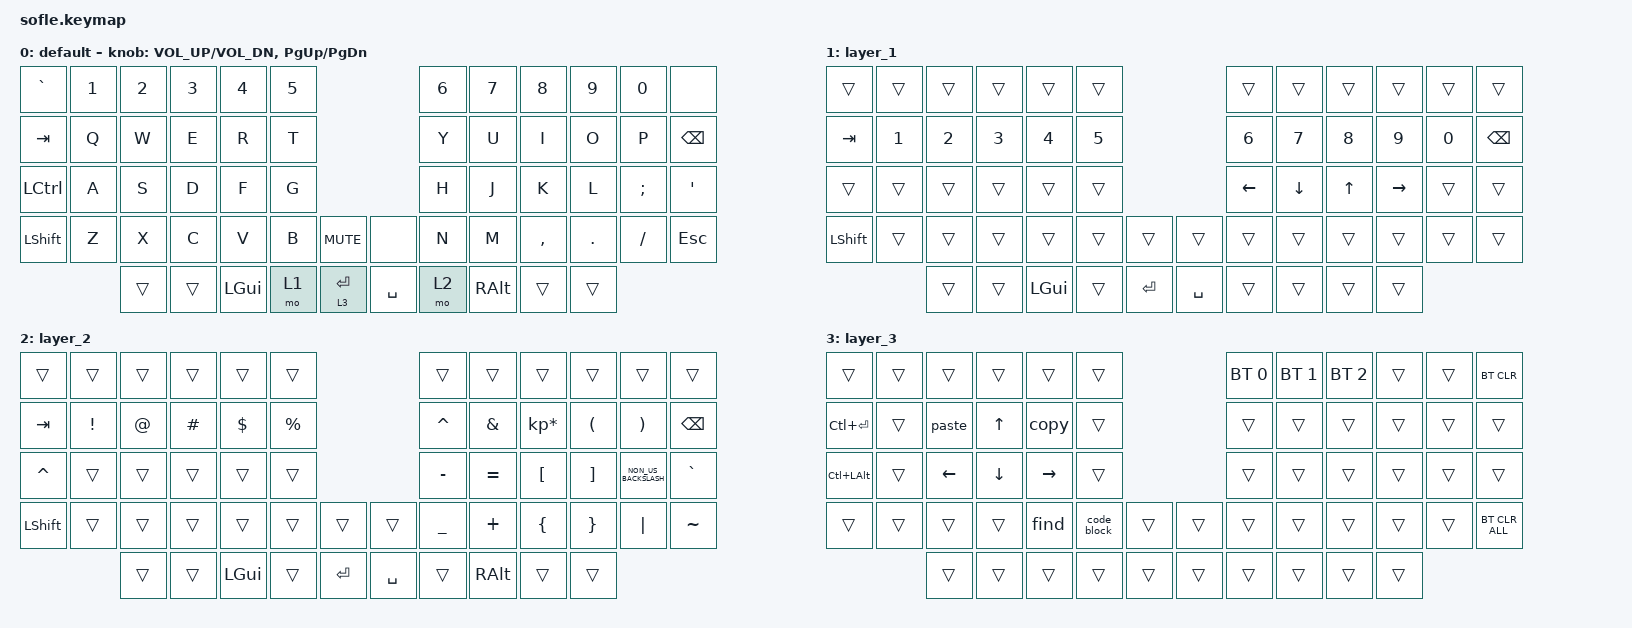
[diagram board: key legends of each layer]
/*
 * Copyright (c) 2020 The ZMK Contributors
 *
 * SPDX-License-Identifier: MIT
 */

#include <behaviors.dtsi>
#include <dt-bindings/zmk/bt.h>
#include <dt-bindings/zmk/keys.h>

#define BASE 0
#define LOWER 1
#define RAISE 2
#define ADJUST 3

/ {
    // Activate ADJUST layer by pressing raise and lower

    conditional_layers { compatible = "zmk,conditional-layers"; };

    combos { compatible = "zmk,combos"; };

    macros {
        code_block: code_block {
            compatible = "zmk,behavior-macro";
            #binding-cells = <0>;
            bindings = <&none &kp LBRC &kp C &kp O &kp D &kp E &kp RBRC &kp RET &kp RET &kp LBRC &kp C &kp O &kp D &kp E &kp RBRC &kp UP>;
            label = "CODE_BLOCK";
        };

        copy: copy {
            compatible = "zmk,behavior-macro";
            #binding-cells = <0>;
            bindings = <&kp LC(C)>;
            label = "COPY";
        };

        paste: paste {
            compatible = "zmk,behavior-macro";
            #binding-cells = <0>;
            bindings = <&kp LC(V)>;
            label = "PASTE";
        };

        find: find {
            compatible = "zmk,behavior-macro";
            #binding-cells = <0>;
            bindings = <&kp LC(F)>;
            label = "FIND";
        };
    };

    keymap {
        compatible = "zmk,keymap";

        default_layer {
            display-name = "default";

            // ------------------------------------------------------------------------------------------------------------
            // |   `   |  1  |  2  |  3   |  4   |  5   |                   |  6   |  7    |  8    |  9   |   0   |       |
            // |  ESC  |  Q  |  W  |  E   |  R   |  T   |                   |  Y   |  U    |  I    |  O   |   P   | BKSPC |
            // |  TAB  |  A  |  S  |  D   |  F   |  G   |                   |  H   |  J    |  K    |  L   |   ;   |   '   |
            // | SHIFT |  Z  |  X  |  C   |  V   |  B   |  MUTE  |  |       |  N   |  M    |  ,    |  .   |   /   | SHIFT |
            //               | GUI | ALT  | CTRL | LOWER|  ENTER |  | SPACE | RAISE| CTRL  | ALT   | GUI  |

            bindings = <
&kp GRAVE  &kp N1  &kp N2  &kp N3  &kp N4        &kp N5                           &kp N6  &kp N7    &kp N8     &kp N9   &kp N0    &none
&kp TAB    &kp Q   &kp W   &kp E   &kp R         &kp T                            &kp Y   &kp U     &kp I      &kp O    &kp P     &kp BSPC
&kp LCTRL  &kp A   &kp S   &kp D   &kp F         &kp G                            &kp H   &kp J     &kp K      &kp L    &kp SEMI  &kp SQT
&kp LSHFT  &kp Z   &kp X   &kp C   &kp V         &kp B   &kp C_MUTE    &none      &kp N   &kp M     &kp COMMA  &kp DOT  &kp FSLH  &kp ESC
                   &trans  &trans  &kp LEFT_GUI  &mo 1   &lt 3 RET     &kp SPACE  &mo 2   &kp RALT  &trans     &trans
            >;

            sensor-bindings = <&inc_dec_kp C_VOL_UP C_VOL_DN &inc_dec_kp PG_UP PG_DN>;
        };

        layer_1 {
            bindings = <
&trans     &trans  &trans  &trans  &trans    &trans                          &trans    &trans    &trans  &trans     &trans  &trans
&kp TAB    &kp N1  &kp N2  &kp N3  &kp N4    &kp N5                          &kp N6    &kp N7    &kp N8  &kp N9     &kp N0  &kp BSPC
&trans     &trans  &trans  &trans  &trans    &trans                          &kp LEFT  &kp DOWN  &kp UP  &kp RIGHT  &trans  &trans
&kp LSHFT  &trans  &trans  &trans  &trans    &trans  &trans       &trans     &trans    &trans    &trans  &trans     &trans  &trans
                   &trans  &trans  &kp LGUI  &trans  &kp ENTER    &kp SPACE  &trans    &trans    &trans  &trans
            >;
        };

        layer_2 {
            bindings = <
&trans     &trans           &trans       &trans     &trans        &trans                             &trans     &trans     &trans            &trans                &trans                 &trans
&kp TAB    &kp EXCLAMATION  &kp AT_SIGN  &kp POUND  &kp DOLLAR    &kp PERCENT                        &kp CARET  &kp AMPS   &kp KP_MULTIPLY   &kp LEFT_PARENTHESIS  &kp RIGHT_PARENTHESIS  &kp BACKSPACE
&kp CARET  &trans           &trans       &trans     &trans        &trans                             &kp MINUS  &kp EQUAL  &kp LEFT_BRACKET  &kp RIGHT_BRACKET     &kp NON_US_BACKSLASH   &kp GRAVE
&kp LSHFT  &trans           &trans       &trans     &trans        &trans       &trans     &trans     &kp UNDER  &kp PLUS   &kp LEFT_BRACE    &kp RIGHT_BRACE       &kp PIPE               &kp TILDE
                            &trans       &trans     &kp LEFT_GUI  &trans       &kp RET    &kp SPACE  &trans     &kp RALT   &trans            &trans
            >;
        };

        layer_3 {
            bindings = <
&trans            &trans  &trans    &trans    &trans     &trans                         &bt BT_SEL 0  &bt BT_SEL 1  &bt BT_SEL 2  &trans  &trans  &bt BT_CLR
&kp LC(RET)       &trans  &paste    &kp UP    &copy      &trans                         &trans        &trans        &trans        &trans  &trans  &trans
&kp LC(LEFT_ALT)  &trans  &kp LEFT  &kp DOWN  &kp RIGHT  &trans                         &trans        &trans        &trans        &trans  &trans  &trans
&trans            &trans  &trans    &trans    &find      &code_block  &trans    &trans  &trans        &trans        &trans        &trans  &trans  &bt BT_CLR_ALL
                          &trans    &trans    &trans     &trans       &trans    &trans  &trans        &trans        &trans        &trans
            >;
        };
    };
};
